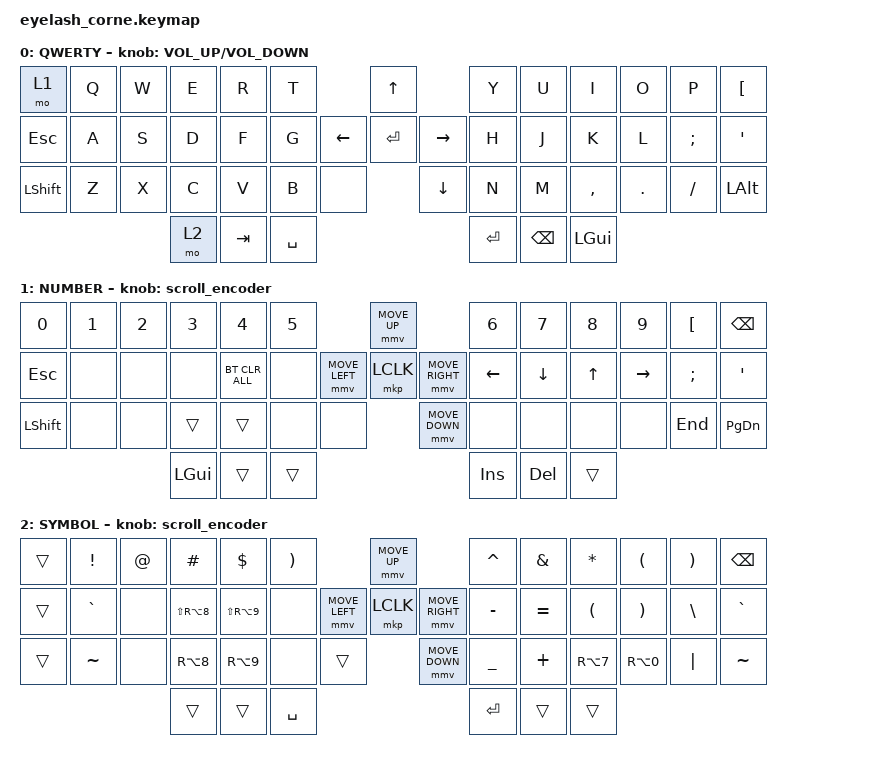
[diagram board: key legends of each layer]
#define ZMK_POINTING_DEFAULT_MOVE_VAL 1200  // 600
#define ZMK_POINTING_DEFAULT_SCRL_VAL 25   // 10

#include <input/processors.dtsi>
#include <zephyr/dt-bindings/input/input-event-codes.h>
#include <behaviors.dtsi>
#include <dt-bindings/zmk/bt.h>
#include <dt-bindings/zmk/keys.h>
#include <dt-bindings/zmk/pointing.h>
#include <dt-bindings/zmk/rgb.h>

&mmv_input_listener { input-processors = <&zip_xy_scaler 2 1>; };

&msc_input_listener { input-processors = <&zip_scroll_scaler 2 1>; };

&msc {
    acceleration-exponent = <1>;      // 0
    time-to-max-speed-ms = <100>;       // 300
    delay-ms = <0>;                   // 0
};

&mmv {
    time-to-max-speed-ms = <500>;
    acceleration-exponent = <1>;
    trigger-period-ms = <16>;
};

&soft_off { hold-time-ms = <2000>; };

/ {
    behaviors {
        td0: td0 {
            compatible = "zmk,behavior-tap-dance";
            display-name = "Shift/Caps Lock Tap Dance";
            #binding-cells = <0>;
            bindings = <&kp LEFT_SHIFT>, <&kp CAPS>;
        };
    };

    rgb_encoder: rgb_encoder {
        compatible = "zmk,behavior-sensor-rotate";
        #sensor-binding-cells = <0>;
        bindings = <&rgb_ug RGB_BRI>, <&rgb_ug RGB_BRD>;
    };

    scroll_encoder: scroll_encoder {
        compatible = "zmk,behavior-sensor-rotate";
        #sensor-binding-cells = <0>;
        bindings = <&msc SCRL_DOWN>, <&msc SCRL_UP>;

        tap-ms = <100>;
    };

    combos {
        compatible = "zmk,combos";

        softoff {
            bindings = <&soft_off>;
            key-positions = <1 15 29>;
        };
    };

    keymap {
        compatible = "zmk,keymap";

        default_layer {
            display-name = "QWERTY";
            bindings = <
&mo 1           &kp Q  &kp W  &kp E  &kp R    &kp T                         &kp UP                &kp Y      &kp U          &kp I         &kp O    &kp P     &kp LBKT
&kp ESC         &kp A  &kp S  &kp D  &kp F    &kp G               &kp LEFT  &kp ENTER  &kp RIGHT  &kp H      &kp J          &kp K         &kp L    &kp SEMI  &kp SQT
&kp LEFT_SHIFT  &kp Z  &kp X  &kp C  &kp V    &kp B      &none              &kp DOWN              &kp N      &kp M          &kp COMMA     &kp DOT  &kp FSLH  &kp LEFT_ALT
                              &mo 2  &kp TAB  &kp SPACE                                           &kp ENTER  &kp BACKSPACE  &kp LEFT_GUI
            >;

            sensor-bindings = <&inc_dec_kp C_VOLUME_UP C_VOLUME_DOWN>;
        };

        lower_layer {
            display-name = "NUMBER";
            bindings = <
&kp NUMBER_0    &kp N1  &kp N2  &kp N3        &kp N4          &kp N5                           &mmv MOVE_UP                     &kp N6    &kp N7    &kp N8  &kp N9     &kp LBKT  &kp BSPC
&kp ESC         &none   &none   &none         &bt BT_CLR_ALL  &none            &mmv MOVE_LEFT  &mkp LCLK       &mmv MOVE_RIGHT  &kp LEFT  &kp DOWN  &kp UP  &kp RIGHT  &kp SEMI  &kp SQT
&kp LEFT_SHIFT  &none   &none   &trans        &trans          &none   &none                    &mmv MOVE_DOWN                   &none     &none     &none   &none      &kp END   &kp PG_DN
                                &kp LEFT_GUI  &trans          &trans                                                            &kp INS   &kp DEL   &trans
            >;

            sensor-bindings = <&scroll_encoder>;
        };

        raise_layer {
            display-name = "SYMBOL";
            bindings = <
&trans  &kp EXCL   &kp AT  &kp HASH        &kp DLLR        &kp RIGHT_PARENTHESIS                            &mmv MOVE_UP                     &kp CARET  &kp AMPS   &kp ASTRK             &kp LPAR               &kp RPAR  &kp BSPC
&trans  &kp GRAVE  &none   &kp LS(RA(N8))  &kp LS(RA(N9))  &none                            &mmv MOVE_LEFT  &mkp LCLK       &mmv MOVE_RIGHT  &kp MINUS  &kp EQUAL  &kp LEFT_PARENTHESIS  &kp RIGHT_PARENTHESIS  &kp BSLH  &kp GRAVE
&trans  &kp TILDE  &none   &kp RA(N8)      &kp RA(N9)      &none                  &trans                    &mmv MOVE_DOWN                   &kp UNDER  &kp PLUS   &kp RA(N7)            &kp RA(N0)             &kp PIPE  &kp TILDE
                           &trans          &trans          &kp SPACE                                                                         &kp RET    &trans     &trans
            >;

            sensor-bindings = <&scroll_encoder>;
        };
    };
};
